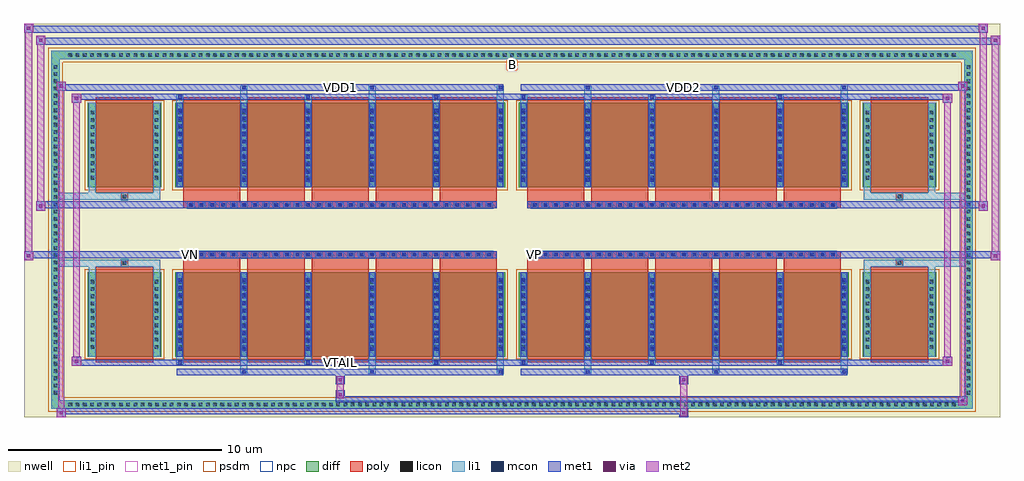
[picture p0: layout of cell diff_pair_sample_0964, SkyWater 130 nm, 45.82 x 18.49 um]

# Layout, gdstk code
import gdstk
lib = gdstk.Library(unit=1e-6, precision=5e-09)
def R(c, l, rs):  # rectangles x0, y0, x1, y1
    for r in rs: c.add(gdstk.rectangle(r[:2], r[2:], *l))
def A(c, l, x, y, w, h, nx, ny, dx, dy):  # array of equal rectangles
    R(c, l, [(x+i*dx, y+j*dy, x+i*dx+w, y+j*dy+h) for i in range(nx) for j in range(ny)])
def P(c, l, *ps):  # polygons
    for p in ps: c.add(gdstk.Polygon(p, *l))
nwell = (64, 20)
diff = (65, 20)
poly = (66, 20)
licon = (66, 44)
li1_pin = (67, 16)
li1 = (67, 20)
mcon = (67, 44)
met1_pin = (68, 16)
met1 = (68, 20)
via = (68, 44)
met2 = (69, 20)
psdm = (94, 20)
npc = (95, 20)

diff_pair_sample_0964 = lib.new_cell('diff_pair_sample_0964')
R(diff_pair_sample_0964, nwell, [(-22.91,-8.81,22.91,9.68), (-20.23,-7,-0.01,-0.8), (0.01,-7,20.23,-0.8), (-20.23,0.8,-0.01,7), (0.01,0.8,20.23,7)])
A(diff_pair_sample_0964, diff, -20.945, -8.41, 0.41, 0.41, 123, 2, 0.34, 16.41)
A(diff_pair_sample_0964, diff, -21.64, -7.855, 0.41, 0.41, 1, 46, 0, 0.34)
A(diff_pair_sample_0964, diff, 21.23, -7.855, 0.41, 0.41, 1, 46, 0, 0.34)
R(diff_pair_sample_0964, diff, [(-20.945,-8.41,20.945,-8), (-21.64,-7.855,-21.23,7.855), (21.23,-7.855,21.64,7.855), (-19.92,-5.955,-16.46,-1.985), (-15.82,-5.955,-0.32,-1.985), (0.32,-5.955,15.82,-1.985), (16.46,-5.955,19.92,-1.985), (-19.92,1.985,-16.46,5.955), (-15.82,1.985,-0.32,5.955), (0.32,1.985,15.82,5.955), (16.46,1.985,19.92,5.955), (-20.945,8,20.945,8.41)])
P(diff_pair_sample_0964, diff, [(21.64,8.41),(-21.64,8.41),(-21.64,-8),(-21.23,-8),(-21.23,8),(21.23,8),(21.23,-8),(-21.23,-8),(-21.64,-8),(-21.64,-8.41),(21.64,-8.41)])
A(diff_pair_sample_0964, poly, -15.43, -6.21, 2.68, 4.48, 5, 2, 3.01, 7.94)
A(diff_pair_sample_0964, poly, 0.71, -6.21, 2.68, 4.48, 5, 2, 3.01, 7.94)
A(diff_pair_sample_0964, poly, -15.43, -1.73, 2.68, 0.4, 5, 2, 3.01, 3.06)
A(diff_pair_sample_0964, poly, 0.71, -1.73, 2.68, 0.4, 5, 2, 3.01, 3.06)
A(diff_pair_sample_0964, poly, -15.235, -1.33, 0.33, 0.33, 29, 2, 0.5, 2.33)
A(diff_pair_sample_0964, poly, 0.905, -1.33, 0.33, 0.33, 29, 2, 0.5, 2.33)
R(diff_pair_sample_0964, poly, [(-19.53,-6.21,-16.85,-1.73), (16.85,-6.21,19.53,-1.73), (-18.355,-1.73,-18.025,-1.4), (-18.355,-1.73,-18.025,-1.4), (18.025,-1.73,18.355,-1.4), (18.025,-1.73,18.355,-1.4), (-15.43,-1.33,-0.71,-1), (0.71,-1.33,15.43,-1), (-15.43,1,-0.71,1.33), (0.71,1,15.43,1.33), (-18.355,1.4,-18.025,1.73), (-18.355,1.4,-18.025,1.73), (18.025,1.4,18.355,1.73), (18.025,1.4,18.355,1.73), (-19.53,1.73,-16.85,6.21), (16.85,1.73,19.53,6.21)])
A(diff_pair_sample_0964, licon, -20.825, -8.29, 0.17, 0.17, 123, 2, 0.34, 16.41)
A(diff_pair_sample_0964, licon, -21.52, -7.735, 0.17, 0.17, 1, 46, 0, 0.34)
A(diff_pair_sample_0964, licon, 21.35, -7.735, 0.17, 0.17, 1, 46, 0, 0.34)
A(diff_pair_sample_0964, licon, -19.78, -5.585, 0.17, 0.17, 1, 10, 0, 0.34)
A(diff_pair_sample_0964, licon, -16.77, -5.585, 0.17, 0.17, 1, 10, 0, 0.34)
A(diff_pair_sample_0964, licon, -15.68, -5.585, 0.17, 0.17, 6, 10, 3.01, 0.34)
A(diff_pair_sample_0964, licon, 0.46, -5.585, 0.17, 0.17, 6, 10, 3.01, 0.34)
A(diff_pair_sample_0964, licon, 16.6, -5.585, 0.17, 0.17, 1, 10, 0, 0.34)
A(diff_pair_sample_0964, licon, 19.61, -5.585, 0.17, 0.17, 1, 10, 0, 0.34)
A(diff_pair_sample_0964, licon, -15.155, -1.25, 0.17, 0.17, 29, 2, 0.5, 2.33)
A(diff_pair_sample_0964, licon, 0.985, -1.25, 0.17, 0.17, 29, 2, 0.5, 2.33)
A(diff_pair_sample_0964, licon, -19.78, 2.355, 0.17, 0.17, 1, 10, 0, 0.34)
A(diff_pair_sample_0964, licon, -16.77, 2.355, 0.17, 0.17, 1, 10, 0, 0.34)
A(diff_pair_sample_0964, licon, -15.68, 2.355, 0.17, 0.17, 6, 10, 3.01, 0.34)
A(diff_pair_sample_0964, licon, 0.46, 2.355, 0.17, 0.17, 6, 10, 3.01, 0.34)
A(diff_pair_sample_0964, licon, 16.6, 2.355, 0.17, 0.17, 1, 10, 0, 0.34)
A(diff_pair_sample_0964, licon, 19.61, 2.355, 0.17, 0.17, 1, 10, 0, 0.34)
R(diff_pair_sample_0964, licon, [(-18.275,-1.65,-18.105,-1.48), (18.105,-1.65,18.275,-1.48), (-18.275,1.48,-18.105,1.65), (18.105,1.48,18.275,1.65)])
R(diff_pair_sample_0964, li1_pin, [(-0.25,7.5,0.25,8)])
A(diff_pair_sample_0964, li1, -20.905, -8.37, 0.33, 0.33, 123, 2, 0.34, 16.41)
A(diff_pair_sample_0964, li1, -21.6, -7.815, 0.33, 0.33, 1, 46, 0, 0.34)
A(diff_pair_sample_0964, li1, 21.27, -7.815, 0.33, 0.33, 1, 46, 0, 0.34)
A(diff_pair_sample_0964, li1, -12.75, -6.76, 0.33, 0.805, 3, 2, 6.02, 12.715)
A(diff_pair_sample_0964, li1, -12.67, -6.76, 0.17, 0.17, 3, 2, 6.02, 13.35)
A(diff_pair_sample_0964, li1, 3.39, -6.76, 0.33, 0.805, 3, 2, 6.02, 12.715)
A(diff_pair_sample_0964, li1, 3.47, -6.76, 0.17, 0.17, 3, 2, 6.02, 13.35)
A(diff_pair_sample_0964, li1, -15.76, -6.33, 0.33, 0.375, 3, 2, 6.02, 12.285)
A(diff_pair_sample_0964, li1, -15.68, -6.33, 0.17, 0.17, 3, 2, 6.02, 12.49)
A(diff_pair_sample_0964, li1, 0.38, -6.33, 0.33, 0.375, 3, 2, 6.02, 12.285)
A(diff_pair_sample_0964, li1, 0.46, -6.33, 0.17, 0.17, 3, 2, 6.02, 12.49)
A(diff_pair_sample_0964, li1, -15.76, -5.955, 0.33, 3.97, 6, 2, 3.01, 7.94)
A(diff_pair_sample_0964, li1, 0.38, -5.955, 0.33, 3.97, 6, 2, 3.01, 7.94)
A(diff_pair_sample_0964, li1, -15.68, -5.675, 0.17, 0.17, 6, 10, 3.01, 0.36)
A(diff_pair_sample_0964, li1, -15.68, -5.675, 0.17, 3.41, 6, 2, 3.01, 7.94)
A(diff_pair_sample_0964, li1, 0.46, -5.675, 0.17, 0.17, 6, 10, 3.01, 0.36)
A(diff_pair_sample_0964, li1, 0.46, -5.675, 0.17, 3.41, 6, 2, 3.01, 7.94)
A(diff_pair_sample_0964, li1, -19.86, -5.665, 0.33, 0.33, 1, 10, 0, 0.34)
A(diff_pair_sample_0964, li1, -16.85, -5.665, 0.33, 0.33, 1, 10, 0, 0.34)
A(diff_pair_sample_0964, li1, -15.76, -5.665, 0.33, 0.33, 6, 10, 3.01, 0.34)
A(diff_pair_sample_0964, li1, 0.38, -5.665, 0.33, 0.33, 6, 10, 3.01, 0.34)
A(diff_pair_sample_0964, li1, 16.52, -5.665, 0.33, 0.33, 1, 10, 0, 0.34)
A(diff_pair_sample_0964, li1, 19.53, -5.665, 0.33, 0.33, 1, 10, 0, 0.34)
A(diff_pair_sample_0964, li1, -15.235, -1.33, 0.33, 0.33, 29, 2, 0.5, 2.33)
A(diff_pair_sample_0964, li1, 0.905, -1.33, 0.33, 0.33, 29, 2, 0.5, 2.33)
A(diff_pair_sample_0964, li1, -15.68, 2.265, 0.17, 0.17, 6, 10, 3.01, 0.36)
A(diff_pair_sample_0964, li1, 0.46, 2.265, 0.17, 0.17, 6, 10, 3.01, 0.36)
A(diff_pair_sample_0964, li1, -19.86, 2.275, 0.33, 0.33, 1, 10, 0, 0.34)
A(diff_pair_sample_0964, li1, -16.85, 2.275, 0.33, 0.33, 1, 10, 0, 0.34)
A(diff_pair_sample_0964, li1, -15.76, 2.275, 0.33, 0.33, 6, 10, 3.01, 0.34)
A(diff_pair_sample_0964, li1, 0.38, 2.275, 0.33, 0.33, 6, 10, 3.01, 0.34)
A(diff_pair_sample_0964, li1, 16.52, 2.275, 0.33, 0.33, 1, 10, 0, 0.34)
A(diff_pair_sample_0964, li1, 19.53, 2.275, 0.33, 0.33, 1, 10, 0, 0.34)
R(diff_pair_sample_0964, li1, [(-21.64,-8.41,-21.23,-8), (-21.64,-8.41,-21.23,-8), (-21.23,-8.41,21.23,-8), (21.23,-8.41,21.64,-8), (21.23,-8.41,21.64,-8), (-21.64,-8,-21.23,8), (21.23,-8,21.64,8), (-19.86,-5.955,-19.53,-1.985), (-16.85,-5.955,-16.52,-1.985), (16.52,-5.955,16.85,-1.985), (19.53,-5.955,19.86,-1.985), (-19.86,-1.985,-19.53,-1.4), (-16.85,-1.985,-16.52,-1.4), (16.52,-1.985,16.85,-1.4), (19.53,-1.985,19.86,-1.4), (-21.64,-1.73,-18.355,-1.4), (-19.86,-1.73,-18.355,-1.4), (-18.355,-1.73,-18.025,-1.4), (-18.025,-1.73,-16.52,-1.4), (16.52,-1.73,18.025,-1.4), (18.025,-1.73,18.355,-1.4), (18.025,-1.73,21.64,-1.4), (18.355,-1.73,19.86,-1.4), (-21.64,1.4,-18.355,1.73), (-19.86,1.4,-18.355,1.73), (-19.86,1.4,-19.53,1.985), (-18.355,1.4,-18.025,1.73), (-18.025,1.4,-16.52,1.73), (-16.85,1.4,-16.52,1.985), (16.52,1.4,18.025,1.73), (16.52,1.4,16.85,1.985), (18.025,1.4,18.355,1.73), (18.025,1.4,21.64,1.73), (18.355,1.4,19.86,1.73), (19.53,1.4,19.86,1.985), (-19.86,1.985,-19.53,5.955), (-16.85,1.985,-16.52,5.955), (16.52,1.985,16.85,5.955), (19.53,1.985,19.86,5.955), (-21.64,8,-21.23,8.41), (-21.64,8,-21.23,8.41), (-21.23,8,21.23,8.41), (21.23,8,21.64,8.41), (21.23,8,21.64,8.41)])
A(diff_pair_sample_0964, mcon, -12.67, -6.76, 0.17, 0.17, 3, 2, 6.02, 13.35)
A(diff_pair_sample_0964, mcon, 3.47, -6.76, 0.17, 0.17, 3, 2, 6.02, 13.35)
A(diff_pair_sample_0964, mcon, -15.68, -6.33, 0.17, 0.17, 3, 2, 6.02, 12.49)
A(diff_pair_sample_0964, mcon, 0.46, -6.33, 0.17, 0.17, 3, 2, 6.02, 12.49)
A(diff_pair_sample_0964, mcon, -15.68, -5.675, 0.17, 0.17, 6, 10, 3.01, 0.36)
A(diff_pair_sample_0964, mcon, 0.46, -5.675, 0.17, 0.17, 6, 10, 3.01, 0.36)
A(diff_pair_sample_0964, mcon, -15.155, -1.25, 0.17, 0.17, 29, 2, 0.5, 2.33)
A(diff_pair_sample_0964, mcon, 0.985, -1.25, 0.17, 0.17, 29, 2, 0.5, 2.33)
A(diff_pair_sample_0964, mcon, -15.68, 2.265, 0.17, 0.17, 6, 10, 3.01, 0.36)
A(diff_pair_sample_0964, mcon, 0.46, 2.265, 0.17, 0.17, 6, 10, 3.01, 0.36)
R(diff_pair_sample_0964, met1_pin, [(-8.205,-6.37,-7.935,-6.1), (-15.205,-1.29,-14.935,-1.02), (0.935,-1.29,1.205,-1.02), (-8.205,6.55,-7.935,6.82), (7.935,6.55,8.205,6.82)])
A(diff_pair_sample_0964, met1, -12.73, -6.82, 0.29, 0.29, 3, 2, 6.02, 13.35)
A(diff_pair_sample_0964, met1, 3.41, -6.82, 0.29, 0.29, 3, 2, 6.02, 13.35)
A(diff_pair_sample_0964, met1, -15.74, -6.39, 0.29, 0.29, 3, 2, 6.02, 12.49)
A(diff_pair_sample_0964, met1, 0.4, -6.39, 0.29, 0.29, 3, 2, 6.02, 12.49)
A(diff_pair_sample_0964, met1, -15.74, -5.955, 0.29, 3.97, 6, 2, 3.01, 7.94)
A(diff_pair_sample_0964, met1, 0.4, -5.955, 0.29, 3.97, 6, 2, 3.01, 7.94)
A(diff_pair_sample_0964, met1, -15.74, -5.735, 0.29, 0.29, 6, 10, 3.01, 0.36)
A(diff_pair_sample_0964, met1, 0.4, -5.735, 0.29, 0.29, 6, 10, 3.01, 0.36)
A(diff_pair_sample_0964, met1, -15.215, -1.31, 0.29, 0.29, 29, 2, 0.5, 2.33)
A(diff_pair_sample_0964, met1, 0.925, -1.31, 0.29, 0.29, 29, 2, 0.5, 2.33)
A(diff_pair_sample_0964, met1, -15.74, 2.205, 0.29, 0.29, 6, 10, 3.01, 0.36)
A(diff_pair_sample_0964, met1, 0.4, 2.205, 0.29, 0.29, 6, 10, 3.01, 0.36)
R(diff_pair_sample_0964, met1, [(-21.37,-8.81,-20.94,-8.38), (7.855,-8.81,8.285,-8.38), (-21.37,-8.67,8.285,-8.38), (20.94,-8.24,21.37,-7.81), (-8.285,-8.1,21.37,-7.81), (-8.285,-7.96,-7.855,-7.53), (-8.285,-7.25,-7.855,-6.82), (7.855,-7.25,8.285,-6.82), (-15.74,-6.82,-0.4,-6.53), (0.4,-6.82,15.74,-6.53), (-20.66,-6.39,-20.23,-5.96), (-20.66,-6.39,-15.74,-6.1), (-15.74,-6.39,-0.4,-6.1), (-0.4,-6.39,0.4,-6.1), (0.4,-6.39,15.74,-6.1), (15.74,-6.39,20.66,-6.1), (20.23,-6.39,20.66,-5.96), (-22.91,-1.43,-22.48,-1), (22.48,-1.43,22.91,-1), (-22.91,-1.33,-0.71,-1), (-15.43,-1.33,-0.71,-1), (0.71,-1.33,15.43,-1), (0.71,-1.33,22.91,-1), (-22.34,0.9,-21.91,1.33), (21.91,0.9,22.34,1.33), (-22.34,1,-15.43,1.33), (-15.43,1,-0.71,1.33), (0.71,1,15.43,1.33), (15.43,1,22.34,1.33), (-20.66,5.96,-20.23,6.39), (20.23,5.96,20.66,6.39), (-20.66,6.1,-15.74,6.39), (-15.74,6.1,-0.4,6.39), (-0.4,6.1,0.4,6.39), (0.4,6.1,15.74,6.39), (15.74,6.1,20.66,6.39), (-21.37,6.53,-20.94,6.96), (-21.37,6.53,-15.74,6.82), (-15.74,6.53,-0.4,6.82), (0.4,6.53,15.74,6.82), (15.74,6.53,21.37,6.82), (20.94,6.53,21.37,6.96), (-22.34,8.68,-21.91,9.11), (-22.34,8.68,-20.23,9.01), (-20.23,8.68,20.23,9.01), (20.23,8.68,22.91,9.01), (22.48,8.68,22.91,9.11), (-22.91,9.25,-22.48,9.68), (-22.91,9.25,-20.23,9.58), (-20.23,9.25,20.23,9.58), (20.23,9.25,22.34,9.58), (21.91,9.25,22.34,9.68)])
R(diff_pair_sample_0964, via, [(-21.23,-8.67,-21.08,-8.52), (7.995,-8.67,8.145,-8.52), (21.08,-8.1,21.23,-7.95), (-8.145,-7.82,-7.995,-7.67), (-8.145,-7.11,-7.995,-6.96), (7.995,-7.11,8.145,-6.96), (-20.52,-6.25,-20.37,-6.1), (20.37,-6.25,20.52,-6.1), (-22.77,-1.29,-22.62,-1.14), (22.62,-1.29,22.77,-1.14), (-22.2,1.04,-22.05,1.19), (22.05,1.04,22.2,1.19), (-20.52,6.1,-20.37,6.25), (20.37,6.1,20.52,6.25), (-21.23,6.67,-21.08,6.82), (21.08,6.67,21.23,6.82), (-22.2,8.82,-22.05,8.97), (22.62,8.82,22.77,8.97), (-22.77,9.39,-22.62,9.54), (22.05,9.39,22.2,9.54)])
R(diff_pair_sample_0964, met2, [(-21.37,-8.81,-20.94,-8.38), (-21.3,-8.81,-21.01,6.96), (-21.01,-8.81,-20.94,-8.38), (-21.32,-8.76,-20.99,-8.43), (7.905,-8.76,8.235,-8.43), (7.905,-8.43,8.235,-7.2), (20.94,-8.24,21.37,-7.81), (21.01,-8.24,21.3,6.96), (21.3,-8.24,21.37,-7.81), (20.99,-8.19,21.32,-7.86), (-8.235,-7.91,-7.905,-7.58), (-8.235,-7.58,-7.905,-7.2), (-8.235,-7.2,-7.905,-6.87), (7.905,-7.2,8.235,-6.87), (-20.66,-6.39,-20.23,-5.96), (-20.59,-6.39,-20.3,6.39), (-20.3,-6.39,-20.23,-5.96), (20.23,-6.39,20.66,-5.96), (20.3,-6.39,20.59,6.39), (20.59,-6.39,20.66,-5.96), (-20.61,-6.34,-20.28,-6.01), (20.28,-6.34,20.61,-6.01), (-22.91,-1.43,-22.48,-1), (-22.86,-1.43,-22.53,9.68), (-22.53,-1.43,-22.48,-1), (22.48,-1.43,22.91,-1), (22.53,-1.43,22.86,9.11), (22.86,-1.43,22.91,-1), (-22.86,-1.38,-22.53,-1.05), (22.53,-1.38,22.86,-1.05), (-22.34,0.9,-21.91,1.33), (-22.29,0.9,-21.96,9.11), (-21.96,0.9,-21.91,1.33), (21.91,0.9,22.34,1.33), (21.96,0.9,22.29,9.68), (22.29,0.9,22.34,1.33), (-22.29,0.95,-21.96,1.28), (21.96,0.95,22.29,1.28), (-20.66,5.96,-20.23,6.39), (-20.3,5.96,-20.23,6.39), (20.23,5.96,20.66,6.39), (20.59,5.96,20.66,6.39), (-20.61,6.01,-20.28,6.34), (20.28,6.01,20.61,6.34), (-21.37,6.53,-20.94,6.96), (-21.01,6.53,-20.94,6.96), (20.94,6.53,21.37,6.96), (21.3,6.53,21.37,6.96), (-21.32,6.58,-20.99,6.91), (20.99,6.58,21.32,6.91), (-22.34,8.68,-21.91,9.11), (-21.96,8.68,-21.91,9.11), (22.48,8.68,22.91,9.11), (22.86,8.68,22.91,9.11), (-22.29,8.73,-21.96,9.06), (22.53,8.73,22.86,9.06), (-22.91,9.25,-22.48,9.68), (-22.53,9.25,-22.48,9.68), (21.91,9.25,22.34,9.68), (22.29,9.25,22.34,9.68), (-22.86,9.3,-22.53,9.63), (21.96,9.3,22.29,9.63)])
R(diff_pair_sample_0964, psdm, [(-20.05,-6.085,-16.33,-1.855), (-15.95,-6.085,-0.19,-1.855), (0.19,-6.085,15.95,-1.855), (16.33,-6.085,20.05,-1.855), (-20.05,1.855,-16.33,6.085), (-15.95,1.855,-0.19,6.085), (0.19,1.855,15.95,6.085), (16.33,1.855,20.05,6.085)])
P(diff_pair_sample_0964, psdm, [(21.77,8.54),(-21.77,8.54),(-21.77,-7.87),(-21.1,-7.87),(-21.1,7.87),(21.1,7.87),(21.1,-7.87),(-21.1,-7.87),(-21.77,-7.87),(-21.77,-8.54),(21.77,-8.54)])
A(diff_pair_sample_0964, npc, -15.255, -1.35, 0.37, 0.37, 29, 2, 0.5, 2.33)
A(diff_pair_sample_0964, npc, 0.885, -1.35, 0.37, 0.37, 29, 2, 0.5, 2.33)
R(diff_pair_sample_0964, npc, [(-18.375,-1.75,-18.005,-1.38), (18.005,-1.75,18.375,-1.38), (-15.255,-1.35,-14.385,-0.98), (-15.255,-1.35,-14.385,-0.98), (-14.755,-1.35,-13.885,-0.98), (-14.755,-1.35,-13.885,-0.98), (-14.255,-1.35,-13.385,-0.98), (-14.255,-1.35,-13.385,-0.98), (-13.755,-1.35,-12.885,-0.98), (-13.755,-1.35,-12.885,-0.98), (-13.255,-1.35,-12.385,-0.98), (-13.255,-1.35,-12.385,-0.98), (-12.755,-1.35,-11.885,-0.98), (-12.755,-1.35,-11.885,-0.98), (-12.255,-1.35,-11.385,-0.98), (-12.255,-1.35,-11.385,-0.98), (-11.755,-1.35,-10.885,-0.98), (-11.755,-1.35,-10.885,-0.98), (-11.255,-1.35,-10.385,-0.98), (-11.255,-1.35,-10.385,-0.98), (-10.755,-1.35,-9.885,-0.98), (-10.755,-1.35,-9.885,-0.98), (-10.255,-1.35,-9.385,-0.98), (-10.255,-1.35,-9.385,-0.98), (-9.755,-1.35,-8.885,-0.98), (-9.755,-1.35,-8.885,-0.98), (-9.255,-1.35,-8.385,-0.98), (-9.255,-1.35,-8.385,-0.98), (-8.755,-1.35,-7.885,-0.98), (-8.755,-1.35,-7.885,-0.98), (-8.255,-1.35,-7.385,-0.98), (-8.255,-1.35,-7.385,-0.98), (-7.755,-1.35,-6.885,-0.98), (-7.755,-1.35,-6.885,-0.98), (-7.255,-1.35,-6.385,-0.98), (-7.255,-1.35,-6.385,-0.98), (-6.755,-1.35,-5.885,-0.98), (-6.755,-1.35,-5.885,-0.98), (-6.255,-1.35,-5.385,-0.98), (-6.255,-1.35,-5.385,-0.98), (-5.755,-1.35,-4.885,-0.98), (-5.755,-1.35,-4.885,-0.98), (-5.255,-1.35,-4.385,-0.98), (-5.255,-1.35,-4.385,-0.98), (-4.755,-1.35,-3.885,-0.98), (-4.755,-1.35,-3.885,-0.98), (-4.255,-1.35,-3.385,-0.98), (-4.255,-1.35,-3.385,-0.98), (-3.755,-1.35,-2.885,-0.98), (-3.755,-1.35,-2.885,-0.98), (-3.255,-1.35,-2.385,-0.98), (-3.255,-1.35,-2.385,-0.98), (-2.755,-1.35,-1.885,-0.98), (-2.755,-1.35,-1.885,-0.98), (-2.255,-1.35,-1.385,-0.98), (-2.255,-1.35,-1.385,-0.98), (-1.755,-1.35,-0.885,-0.98), (-1.755,-1.35,-0.885,-0.98), (0.885,-1.35,1.755,-0.98), (0.885,-1.35,1.755,-0.98), (1.385,-1.35,2.255,-0.98), (1.385,-1.35,2.255,-0.98), (1.885,-1.35,2.755,-0.98), (1.885,-1.35,2.755,-0.98), (2.385,-1.35,3.255,-0.98), (2.385,-1.35,3.255,-0.98), (2.885,-1.35,3.755,-0.98), (2.885,-1.35,3.755,-0.98), (3.385,-1.35,4.255,-0.98), (3.385,-1.35,4.255,-0.98), (3.885,-1.35,4.755,-0.98), (3.885,-1.35,4.755,-0.98), (4.385,-1.35,5.255,-0.98), (4.385,-1.35,5.255,-0.98), (4.885,-1.35,5.755,-0.98), (4.885,-1.35,5.755,-0.98), (5.385,-1.35,6.255,-0.98), (5.385,-1.35,6.255,-0.98), (5.885,-1.35,6.755,-0.98), (5.885,-1.35,6.755,-0.98), (6.385,-1.35,7.255,-0.98), (6.385,-1.35,7.255,-0.98), (6.885,-1.35,7.755,-0.98), (6.885,-1.35,7.755,-0.98), (7.385,-1.35,8.255,-0.98), (7.385,-1.35,8.255,-0.98), (7.885,-1.35,8.755,-0.98), (7.885,-1.35,8.755,-0.98), (8.385,-1.35,9.255,-0.98), (8.385,-1.35,9.255,-0.98), (8.885,-1.35,9.755,-0.98), (8.885,-1.35,9.755,-0.98), (9.385,-1.35,10.255,-0.98), (9.385,-1.35,10.255,-0.98), (9.885,-1.35,10.755,-0.98), (9.885,-1.35,10.755,-0.98), (10.385,-1.35,11.255,-0.98), (10.385,-1.35,11.255,-0.98), (10.885,-1.35,11.755,-0.98), (10.885,-1.35,11.755,-0.98), (11.385,-1.35,12.255,-0.98), (11.385,-1.35,12.255,-0.98), (11.885,-1.35,12.755,-0.98), (11.885,-1.35,12.755,-0.98), (12.385,-1.35,13.255,-0.98), (12.385,-1.35,13.255,-0.98), (12.885,-1.35,13.755,-0.98), (12.885,-1.35,13.755,-0.98), (13.385,-1.35,14.255,-0.98), (13.385,-1.35,14.255,-0.98), (13.885,-1.35,14.755,-0.98), (13.885,-1.35,14.755,-0.98), (14.385,-1.35,15.255,-0.98), (14.385,-1.35,15.255,-0.98), (-15.255,0.98,-14.385,1.35), (-15.255,0.98,-14.385,1.35), (-14.755,0.98,-13.885,1.35), (-14.755,0.98,-13.885,1.35), (-14.255,0.98,-13.385,1.35), (-14.255,0.98,-13.385,1.35), (-13.755,0.98,-12.885,1.35), (-13.755,0.98,-12.885,1.35), (-13.255,0.98,-12.385,1.35), (-13.255,0.98,-12.385,1.35), (-12.755,0.98,-11.885,1.35), (-12.755,0.98,-11.885,1.35), (-12.255,0.98,-11.385,1.35), (-12.255,0.98,-11.385,1.35), (-11.755,0.98,-10.885,1.35), (-11.755,0.98,-10.885,1.35), (-11.255,0.98,-10.385,1.35), (-11.255,0.98,-10.385,1.35), (-10.755,0.98,-9.885,1.35), (-10.755,0.98,-9.885,1.35), (-10.255,0.98,-9.385,1.35), (-10.255,0.98,-9.385,1.35), (-9.755,0.98,-8.885,1.35), (-9.755,0.98,-8.885,1.35), (-9.255,0.98,-8.385,1.35), (-9.255,0.98,-8.385,1.35), (-8.755,0.98,-7.885,1.35), (-8.755,0.98,-7.885,1.35), (-8.255,0.98,-7.385,1.35), (-8.255,0.98,-7.385,1.35), (-7.755,0.98,-6.885,1.35), (-7.755,0.98,-6.885,1.35), (-7.255,0.98,-6.385,1.35), (-7.255,0.98,-6.385,1.35), (-6.755,0.98,-5.885,1.35), (-6.755,0.98,-5.885,1.35), (-6.255,0.98,-5.385,1.35), (-6.255,0.98,-5.385,1.35), (-5.755,0.98,-4.885,1.35), (-5.755,0.98,-4.885,1.35), (-5.255,0.98,-4.385,1.35), (-5.255,0.98,-4.385,1.35), (-4.755,0.98,-3.885,1.35), (-4.755,0.98,-3.885,1.35), (-4.255,0.98,-3.385,1.35), (-4.255,0.98,-3.385,1.35), (-3.755,0.98,-2.885,1.35), (-3.755,0.98,-2.885,1.35), (-3.255,0.98,-2.385,1.35), (-3.255,0.98,-2.385,1.35), (-2.755,0.98,-1.885,1.35), (-2.755,0.98,-1.885,1.35), (-2.255,0.98,-1.385,1.35), (-2.255,0.98,-1.385,1.35), (-1.755,0.98,-0.885,1.35), (-1.755,0.98,-0.885,1.35), (0.885,0.98,1.755,1.35), (0.885,0.98,1.755,1.35), (1.385,0.98,2.255,1.35), (1.385,0.98,2.255,1.35), (1.885,0.98,2.755,1.35), (1.885,0.98,2.755,1.35), (2.385,0.98,3.255,1.35), (2.385,0.98,3.255,1.35), (2.885,0.98,3.755,1.35), (2.885,0.98,3.755,1.35), (3.385,0.98,4.255,1.35), (3.385,0.98,4.255,1.35), (3.885,0.98,4.755,1.35), (3.885,0.98,4.755,1.35), (4.385,0.98,5.255,1.35), (4.385,0.98,5.255,1.35), (4.885,0.98,5.755,1.35), (4.885,0.98,5.755,1.35), (5.385,0.98,6.255,1.35), (5.385,0.98,6.255,1.35), (5.885,0.98,6.755,1.35), (5.885,0.98,6.755,1.35), (6.385,0.98,7.255,1.35), (6.385,0.98,7.255,1.35), (6.885,0.98,7.755,1.35), (6.885,0.98,7.755,1.35), (7.385,0.98,8.255,1.35), (7.385,0.98,8.255,1.35), (7.885,0.98,8.755,1.35), (7.885,0.98,8.755,1.35), (8.385,0.98,9.255,1.35), (8.385,0.98,9.255,1.35), (8.885,0.98,9.755,1.35), (8.885,0.98,9.755,1.35), (9.385,0.98,10.255,1.35), (9.385,0.98,10.255,1.35), (9.885,0.98,10.755,1.35), (9.885,0.98,10.755,1.35), (10.385,0.98,11.255,1.35), (10.385,0.98,11.255,1.35), (10.885,0.98,11.755,1.35), (10.885,0.98,11.755,1.35), (11.385,0.98,12.255,1.35), (11.385,0.98,12.255,1.35), (11.885,0.98,12.755,1.35), (11.885,0.98,12.755,1.35), (12.385,0.98,13.255,1.35), (12.385,0.98,13.255,1.35), (12.885,0.98,13.755,1.35), (12.885,0.98,13.755,1.35), (13.385,0.98,14.255,1.35), (13.385,0.98,14.255,1.35), (13.885,0.98,14.755,1.35), (13.885,0.98,14.755,1.35), (14.385,0.98,15.255,1.35), (14.385,0.98,15.255,1.35), (-18.375,1.38,-18.005,1.75), (18.005,1.38,18.375,1.75)])
diff_pair_sample_0964.add(gdstk.Label('VTAIL', (-8.07,-6.235), layer=68, texttype=5))
diff_pair_sample_0964.add(gdstk.Label('VN', (-15.07,-1.155), layer=68, texttype=5))
diff_pair_sample_0964.add(gdstk.Label('VP', (1.07,-1.155), layer=68, texttype=5))
diff_pair_sample_0964.add(gdstk.Label('B', (0,7.75), layer=67, texttype=5))
diff_pair_sample_0964.add(gdstk.Label('VDD2', (8.07,6.685), layer=68, texttype=5))
diff_pair_sample_0964.add(gdstk.Label('VDD1', (-8.07,6.685), layer=68, texttype=5))

lib.write_gds('diff_pair_sample_0964.gds')
